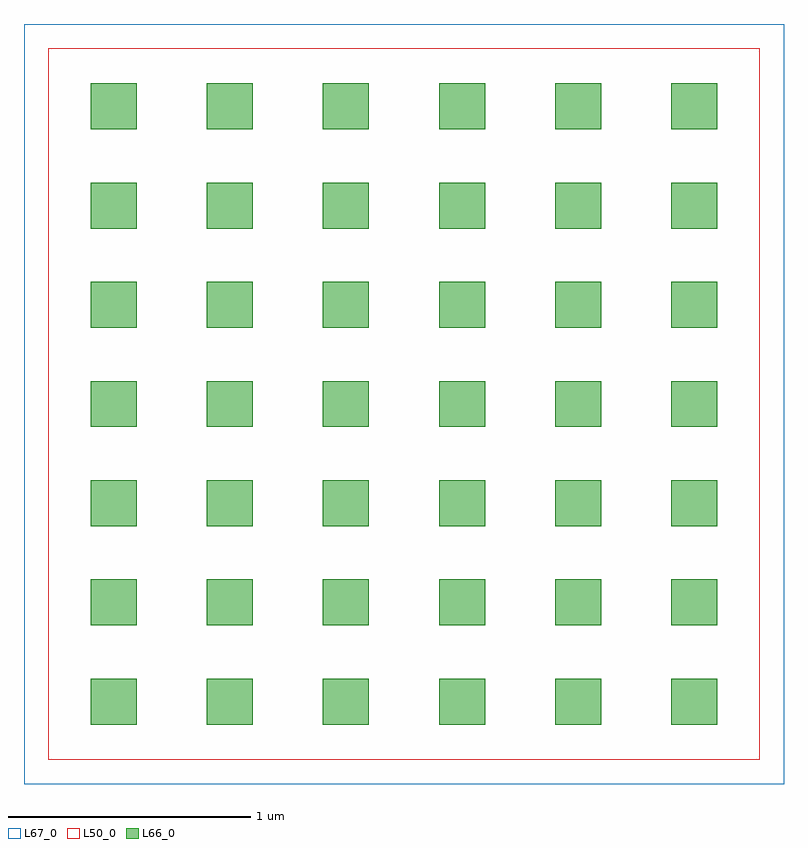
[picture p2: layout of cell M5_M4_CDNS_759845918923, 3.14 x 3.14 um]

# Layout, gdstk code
import gdstk
lib = gdstk.Library(unit=1e-6, precision=1e-09)
def R(c, l, rs):  # rectangles x0, y0, x1, y1
    for r in rs: c.add(gdstk.rectangle(r[:2], r[2:], *l))
def A(c, l, x, y, w, h, nx, ny, dx, dy):  # array of equal rectangles
    R(c, l, [(x+i*dx, y+j*dy, x+i*dx+w, y+j*dy+h) for i in range(nx) for j in range(ny)])
L50_0 = (50, 0)
L66_0 = (66, 0)
L67_0 = (67, 0)

m5_m4_cdns_759845918923 = lib.new_cell('M5_M4_CDNS_759845918923')
R(m5_m4_cdns_759845918923, L50_0, [(-1.47,-1.47,1.47,1.47)])
A(m5_m4_cdns_759845918923, L66_0, -1.295, -1.325, 0.19, 0.19, 6, 7, 0.48, 0.41)
R(m5_m4_cdns_759845918923, L67_0, [(-1.57,-1.57,1.57,1.57)])

lib.write_gds('M5_M4_CDNS_759845918923.gds')
